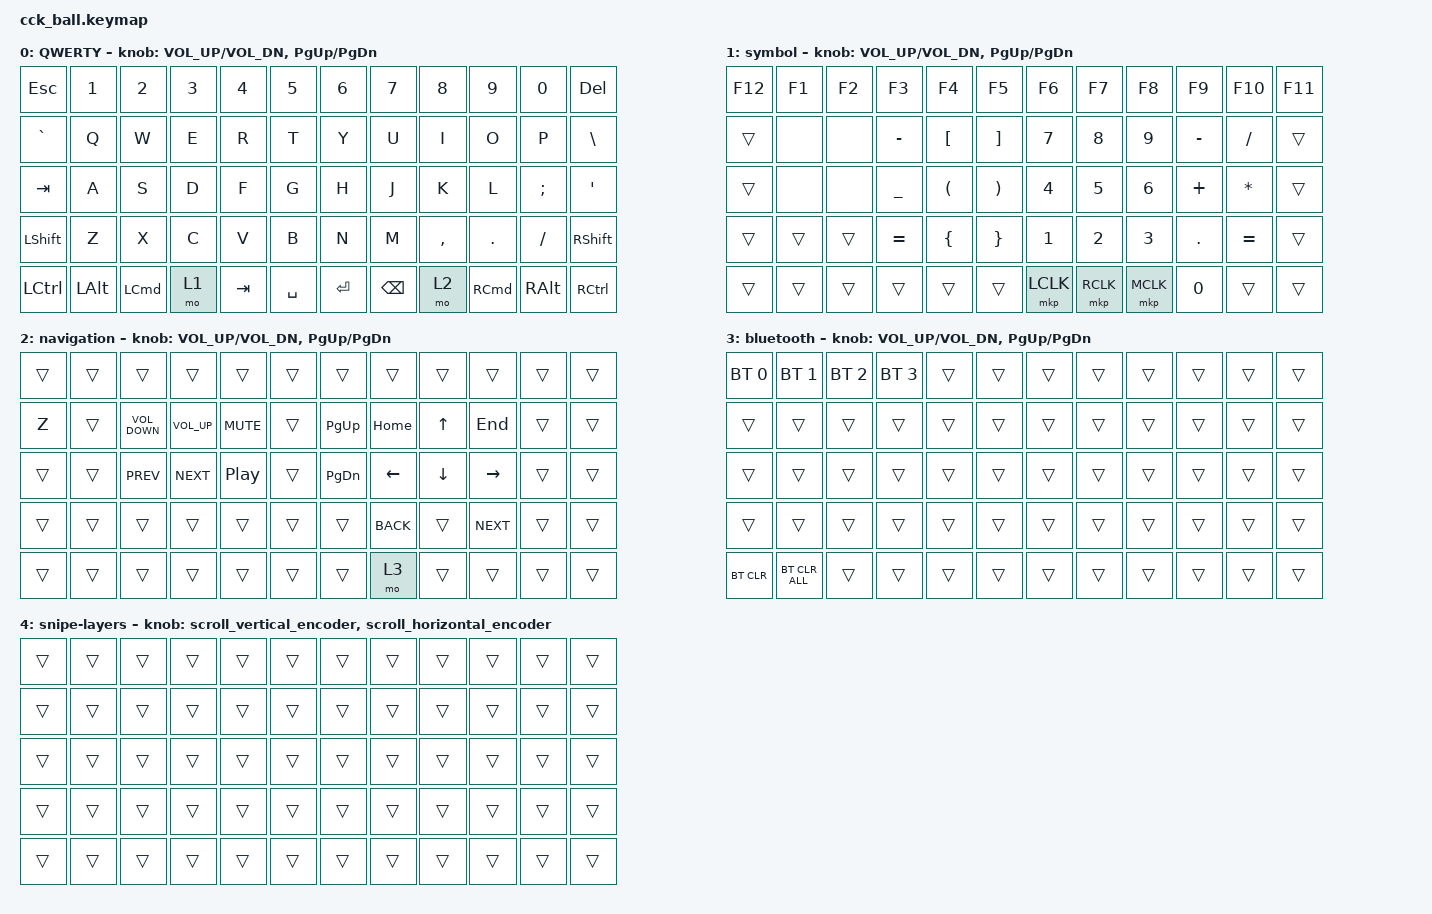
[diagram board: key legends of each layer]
#define ZMK_POINTING_DEFAULT_MOVE_VAL 1000 // 600
#define ZMK_POINTING_DEFAULT_SCRL_VAL 12   // 10

#include <input/processors.dtsi>
#include <zephyr/dt-bindings/input/input-event-codes.h>
#include <behaviors.dtsi>
#include <dt-bindings/zmk/bt.h>
#include <dt-bindings/zmk/keys.h>
#include <dt-bindings/zmk/pointing.h>

&mmv_input_listener { input-processors = <&zip_xy_scaler 2 1>; };

&msc_input_listener { input-processors = <&zip_scroll_scaler 2 1>; };

&msc {
    acceleration-exponent = <0>;      // 0
    time-to-max-speed-ms = <300>;       // 300
    delay-ms = <0>;                   // 0
};

&mmv {
    time-to-max-speed-ms = <500>;
    acceleration-exponent = <1>;
    trigger-period-ms = <16>;
};

&soft_off { hold-time-ms = <2000>; };

/ {
    // 上下滚动编码器行为

    scroll_vertical_encoder: scroll_vertical_encoder {
        compatible = "zmk,behavior-sensor-rotate";
        #sensor-binding-cells = <0>;
        bindings = <&msc SCRL_DOWN>, <&msc SCRL_UP>;

        tap-ms = <100>;
    };

    // 左右滚动编码器行为

    scroll_horizontal_encoder: scroll_horizontal_encoder {
        compatible = "zmk,behavior-sensor-rotate";
        #sensor-binding-cells = <0>;
        bindings = <&msc SCRL_LEFT>, <&msc SCRL_RIGHT>;

        tap-ms = <100>;
    };

    behaviors {
    };

    keymap {
        compatible = "zmk,keymap";

        QWERTY {
            bindings = <
&kp ESC           &kp N1        &kp N2            &kp N3  &kp N4   &kp N5     &kp N6     &kp N7         &kp N8     &kp N9             &kp N0         &kp DEL
&kp GRAVE         &kp Q         &kp W             &kp E   &kp R    &kp T      &kp Y      &kp U          &kp I      &kp O              &kp P          &kp BSLH
&kp TAB           &kp A         &kp S             &kp D   &kp F    &kp G      &kp H      &kp J          &kp K      &kp L              &kp SEMI       &kp SQT
&kp LEFT_SHIFT    &kp Z         &kp X             &kp C   &kp V    &kp B      &kp N      &kp M          &kp COMMA  &kp DOT            &kp FSLH       &kp RIGHT_SHIFT
&kp LEFT_CONTROL  &kp LEFT_ALT  &kp LEFT_COMMAND  &mo 1   &kp TAB  &kp SPACE  &kp ENTER  &kp BACKSPACE  &mo 2      &kp RIGHT_COMMAND  &kp RIGHT_ALT  &kp RIGHT_CONTROL
            >;

            sensor-bindings = <&inc_dec_kp C_VOL_UP C_VOL_DN &inc_dec_kp PG_UP PG_DN>;
        };

        symbol {
            bindings = <
&kp F12  &kp F1  &kp F2  &kp F3          &kp F4                &kp F5                 &kp F6        &kp F7        &kp F8        &kp F9      &kp F10       &kp F11
&trans   &none   &none   &kp MINUS       &kp LEFT_BRACKET      &kp RIGHT_BRACKET      &kp N7        &kp N8        &kp N9        &kp MINUS   &kp SLASH     &trans
&trans   &none   &none   &kp UNDERSCORE  &kp LEFT_PARENTHESIS  &kp RIGHT_PARENTHESIS  &kp NUMBER_4  &kp N5        &kp NUMBER_6  &kp PLUS    &kp ASTERISK  &trans
&trans   &trans  &trans  &kp EQUAL       &kp LEFT_BRACE        &kp RIGHT_BRACE        &kp NUMBER_1  &kp NUMBER_2  &kp NUMBER_3  &kp PERIOD  &kp EQUAL     &trans
&trans   &trans  &trans  &trans          &trans                &trans                 &mkp LCLK     &mkp RCLK     &mkp MCLK     &kp N0      &trans        &trans
            >;

            sensor-bindings = <&inc_dec_kp C_VOL_UP C_VOL_DN &inc_dec_kp PG_UP PG_DN>;
        };

        navigation {
            bindings = <
&trans  &trans  &trans             &trans           &trans            &trans  &trans         &trans      &trans        &trans      &trans  &trans
&kp Z   &trans  &kp C_VOLUME_DOWN  &kp C_VOLUME_UP  &kp K_MUTE        &trans  &kp PAGE_UP    &kp HOME    &kp UP_ARROW  &kp END     &trans  &trans
&trans  &trans  &kp C_PREV         &kp C_NEXT       &kp C_PLAY_PAUSE  &trans  &kp PAGE_DOWN  &kp LEFT    &kp DOWN      &kp RIGHT   &trans  &trans
&trans  &trans  &trans             &trans           &trans            &trans  &trans         &kp K_BACK  &trans        &kp K_NEXT  &trans  &trans
&trans  &trans  &trans             &trans           &trans            &trans  &trans         &mo 3       &trans        &trans      &trans  &trans
            >;

            sensor-bindings = <&inc_dec_kp C_VOL_UP C_VOL_DN &inc_dec_kp PG_UP PG_DN>;
        };

        bluetooth {
            bindings = <
&bt BT_SEL 0  &bt BT_SEL 1    &bt BT_SEL 2  &bt BT_SEL 3  &trans  &trans  &trans  &trans  &trans  &trans  &trans  &trans
&trans        &trans          &trans        &trans        &trans  &trans  &trans  &trans  &trans  &trans  &trans  &trans
&trans        &trans          &trans        &trans        &trans  &trans  &trans  &trans  &trans  &trans  &trans  &trans
&trans        &trans          &trans        &trans        &trans  &trans  &trans  &trans  &trans  &trans  &trans  &trans
&bt BT_CLR    &bt BT_CLR_ALL  &trans        &trans        &trans  &trans  &trans  &trans  &trans  &trans  &trans  &trans
            >;

            sensor-bindings = <&inc_dec_kp C_VOL_UP C_VOL_DN &inc_dec_kp PG_UP PG_DN>;
        };

        snipe-layers {
            bindings = <
&trans  &trans  &trans  &trans  &trans  &trans  &trans  &trans  &trans  &trans  &trans  &trans
&trans  &trans  &trans  &trans  &trans  &trans  &trans  &trans  &trans  &trans  &trans  &trans
&trans  &trans  &trans  &trans  &trans  &trans  &trans  &trans  &trans  &trans  &trans  &trans
&trans  &trans  &trans  &trans  &trans  &trans  &trans  &trans  &trans  &trans  &trans  &trans
&trans  &trans  &trans  &trans  &trans  &trans  &trans  &trans  &trans  &trans  &trans  &trans
            >;

            sensor-bindings =
                <&scroll_vertical_encoder>,
                // 编码器1：上下滚动,,,,,
                <&scroll_horizontal_encoder>;

            // 编码器2：左右滚动
        };
    };
};
